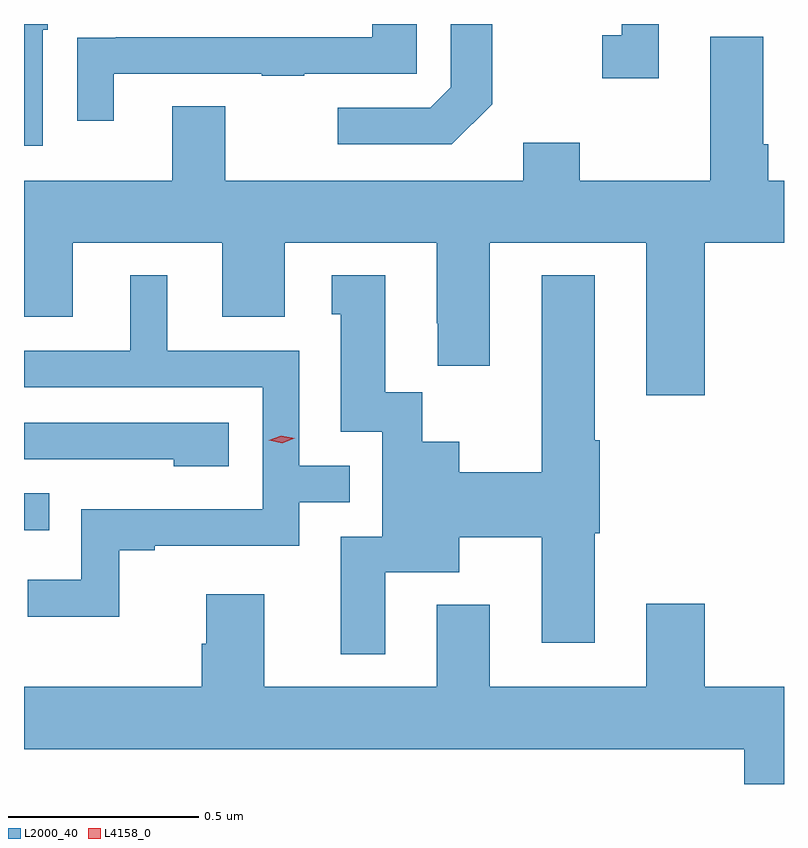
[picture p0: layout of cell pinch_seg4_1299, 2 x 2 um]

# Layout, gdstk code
import gdstk
lib = gdstk.Library(unit=1e-6, precision=1e-09)
def R(c, l, rs):  # rectangles x0, y0, x1, y1
    for r in rs: c.add(gdstk.rectangle(r[:2], r[2:], *l))
def P(c, l, *ps):  # polygons
    for p in ps: c.add(gdstk.Polygon(p, *l))
L2000_40 = (2000, 40)
L4158_0 = (4158, 0)

pinch_seg4_1299 = lib.new_cell('pinch_seg4_1299')
R(pinch_seg4_1299, L2000_40, [(185.447,750.776,185.513,750.873)])
P(pinch_seg4_1299, L2000_40, [(185.683,751.977),(186.073,751.977),(186.073,751.972),(186.185,751.972),(186.185,751.977),(186.48,751.977),(186.48,752.108),(186.364,752.108),(186.364,752.073),(185.689,752.073),(185.689,752.072),(185.587,752.072),(185.587,751.854),(185.683,751.854)],
  [(185.496,752.093),(185.509,752.093),(185.509,752.108),(185.447,752.108),(185.447,751.788),(185.496,751.788)],
  [(187.117,752.108),(187.02,752.108),(187.02,752.078),(186.969,752.078),(186.969,751.965),(187.117,751.965)],
  [(186.679,751.897),(186.679,752.108),(186.57,752.108),(186.57,751.941),(186.516,751.887),(186.273,751.887),(186.273,751.791),(186.573,751.791)],
  [(185.977,751.891),(185.837,751.891),(185.837,751.696),(185.447,751.696),(185.447,751.338),(185.575,751.338),(185.575,751.532),(185.969,751.532),(185.969,751.338),(186.133,751.338),(186.133,751.532),(186.533,751.532),(186.533,751.321),(186.536,751.321),(186.536,751.209),(186.673,751.209),(186.673,751.532),(187.085,751.532),(187.085,751.131),(187.238,751.131),(187.238,751.532),(187.447,751.532),(187.447,751.696),(187.406,751.696),(187.406,751.792),(187.393,751.792),(187.393,752.074),(187.253,752.074),(187.253,751.696),(186.909,751.696),(186.909,751.795),(186.761,751.795),(186.761,751.696),(185.977,751.696)],
  [(186.397,750.665),(186.592,750.665),(186.592,750.757),(186.809,750.757),(186.809,750.48),(186.949,750.48),(186.949,750.768),(186.962,750.768),(186.962,751.012),(186.949,751.012),(186.949,751.447),(186.809,751.447),(186.809,750.929),(186.592,750.929),(186.592,751.009),(186.495,751.009),(186.495,751.139),(186.397,751.139),(186.397,751.447),(186.257,751.447),(186.257,751.344),(186.281,751.344),(186.281,751.035),(186.39,751.035),(186.39,750.759),(186.281,750.759),(186.281,750.45),(186.397,750.45)],
  [(185.697,750.723),(185.791,750.723),(185.791,750.735),(186.171,750.735),(186.171,750.849),(186.304,750.849),(186.304,750.945),(186.171,750.945),(186.171,751.248),(185.824,751.248),(185.824,751.447),(185.726,751.447),(185.726,751.248),(185.447,751.248),(185.447,751.152),(186.075,751.152),(186.075,750.831),(185.598,750.831),(185.598,750.646),(185.457,750.646),(185.457,750.548),(185.697,750.548)],
  [(185.986,751.059),(185.447,751.059),(185.447,750.963),(185.605,750.963),(185.605,750.962),(185.841,750.962),(185.841,750.944),(185.986,750.944)],
  [(187.447,750.364),(187.238,750.364),(187.238,750.583),(187.085,750.583),(187.085,750.364),(186.673,750.364),(186.673,750.58),(186.533,750.58),(186.533,750.364),(186.079,750.364),(186.079,750.607),(185.927,750.607),(185.927,750.477),(185.915,750.477),(185.915,750.364),(185.447,750.364),(185.447,750.2),(187.343,750.2),(187.343,750.108),(187.447,750.108)])
P(pinch_seg4_1299, L4158_0, [(186.126,751.005),(186.091,751.013),(186.09,751.013),(186.091,751.013),(186.124,751.025),(186.16,751.018),(186.16,751.018),(186.16,751.018)])

lib.write_gds('pinch_seg4_1299.gds')
